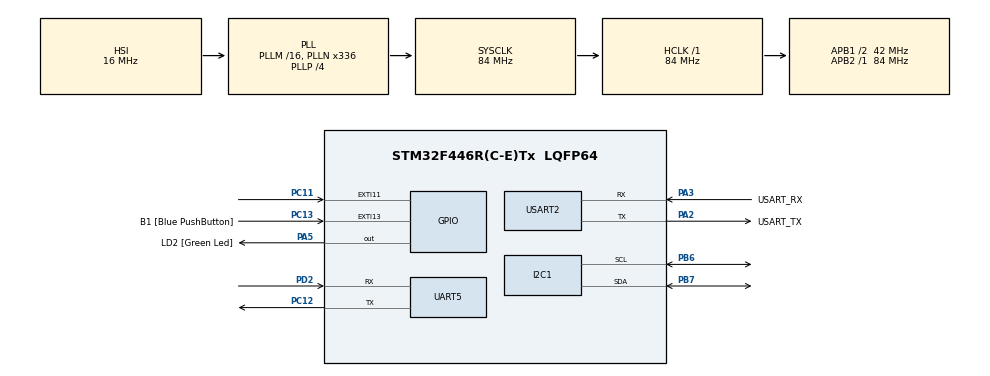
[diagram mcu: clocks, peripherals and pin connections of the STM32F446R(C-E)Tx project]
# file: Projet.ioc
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Dma.I2C1_RX.0.Direction=DMA_PERIPH_TO_MEMORY
Dma.I2C1_RX.0.FIFOMode=DMA_FIFOMODE_DISABLE
Dma.I2C1_RX.0.Instance=DMA1_Stream5
Dma.I2C1_RX.0.MemDataAlignment=DMA_MDATAALIGN_BYTE
Dma.I2C1_RX.0.MemInc=DMA_MINC_ENABLE
Dma.I2C1_RX.0.Mode=DMA_NORMAL
Dma.I2C1_RX.0.PeriphDataAlignment=DMA_PDATAALIGN_BYTE
Dma.I2C1_RX.0.PeriphInc=DMA_PINC_DISABLE
Dma.I2C1_RX.0.Priority=DMA_PRIORITY_LOW
Dma.I2C1_TX.1.Direction=DMA_MEMORY_TO_PERIPH
Dma.I2C1_TX.1.FIFOMode=DMA_FIFOMODE_DISABLE
Dma.I2C1_TX.1.Instance=DMA1_Stream6
Dma.I2C1_TX.1.MemDataAlignment=DMA_MDATAALIGN_BYTE
Dma.I2C1_TX.1.MemInc=DMA_MINC_ENABLE
Dma.I2C1_TX.1.Mode=DMA_NORMAL
Dma.I2C1_TX.1.PeriphDataAlignment=DMA_PDATAALIGN_BYTE
Dma.I2C1_TX.1.PeriphInc=DMA_PINC_DISABLE
Dma.I2C1_TX.1.Priority=DMA_PRIORITY_LOW
Dma.Request0=I2C1_RX
Dma.Request1=I2C1_TX
Dma.Request2=UART5_TX
Dma.UART5_TX.2.Direction=DMA_MEMORY_TO_PERIPH
Dma.UART5_TX.2.FIFOMode=DMA_FIFOMODE_DISABLE
Dma.UART5_TX.2.Instance=DMA1_Stream7
Dma.UART5_TX.2.MemDataAlignment=DMA_MDATAALIGN_BYTE
Dma.UART5_TX.2.MemInc=DMA_MINC_ENABLE
Dma.UART5_TX.2.Mode=DMA_NORMAL
Dma.UART5_TX.2.PeriphDataAlignment=DMA_PDATAALIGN_BYTE
Dma.UART5_TX.2.PeriphInc=DMA_PINC_DISABLE
Dma.UART5_TX.2.Priority=DMA_PRIORITY_LOW
I2C1.I2C_Mode=I2C_Fast
Mcu.Family=STM32F4
Mcu.Name=STM32F446R(C-E)Tx
Mcu.Package=LQFP64
NVIC.DMA1_Stream5_IRQn=true\:0\:0\:false\:false\:true\:false\:true\:true
NVIC.DMA1_Stream6_IRQn=true\:0\:0\:false\:false\:true\:false\:true\:true
NVIC.DMA1_Stream7_IRQn=true\:0\:0\:false\:false\:true\:false\:true\:true
NVIC.EXTI15_10_IRQn=true\:0\:0\:false\:false\:true\:true\:true\:true
NVIC.I2C1_ER_IRQn=true\:0\:0\:false\:false\:true\:true\:true\:true
NVIC.I2C1_EV_IRQn=true\:0\:0\:false\:false\:true\:true\:true\:true
NVIC.PriorityGroup=NVIC_PRIORITYGROUP_0
NVIC.UART5_IRQn=true\:0\:0\:false\:false\:true\:true\:true\:true
PA13.GPIO_Label=TMS
PA13.Mode=Serial_Wire
PA13.Signal=SYS_JTMS-SWDIO
PA14.GPIO_Label=TCK
PA14.Mode=Serial_Wire
PA14.Signal=SYS_JTCK-SWCLK
PA2.GPIO_Label=USART_TX
PA2.Mode=Asynchronous
PA2.Signal=USART2_TX
PA3.GPIO_Label=USART_RX
PA3.Mode=Asynchronous
PA3.Signal=USART2_RX
PA5.GPIO_Label=LD2 [Green Led]
PA5.Signal=GPIO_Output
PB3.GPIO_Label=SWO
PB3.Signal=SYS_JTDO-SWO
PB6.Mode=I2C
PB6.Signal=I2C1_SCL
PB7.Mode=I2C
PB7.Signal=I2C1_SDA
PC11.GPIO_ModeDefaultEXTI=GPIO_MODE_IT_FALLING
PC11.GPIO_PuPd=GPIO_PULLUP
PC11.Signal=GPXTI11
PC12.Mode=Asynchronous
PC12.Signal=UART5_TX
PC13.GPIO_Label=B1 [Blue PushButton]
PC13.GPIO_ModeDefaultEXTI=GPIO_MODE_IT_FALLING
PC13.Signal=GPXTI13
PC14-OSC32_IN.Mode=LSE-External-Oscillator
PC14-OSC32_IN.Signal=RCC_OSC32_IN
PC15-OSC32_OUT.Mode=LSE-External-Oscillator
PC15-OSC32_OUT.Signal=RCC_OSC32_OUT
PD2.Mode=Asynchronous
PD2.Signal=UART5_RX
PH0-OSC_IN.Mode=HSE-External-Oscillator
PH0-OSC_IN.Signal=RCC_OSC_IN
PH1-OSC_OUT.Mode=HSE-External-Oscillator
PH1-OSC_OUT.Signal=RCC_OSC_OUT
ProjectManager.HeapSize=0x200
ProjectManager.StackSize=0x400
ProjectManager.TargetToolchain=MDK-ARM V5.32
RCC.48MHZClocksFreq_Value=84000000
RCC.AHBFreq_Value=84000000
RCC.APB1CLKDivider=RCC_HCLK_DIV2
RCC.APB1Freq_Value=42000000
RCC.APB1TimFreq_Value=84000000
RCC.APB2Freq_Value=84000000
RCC.APB2TimFreq_Value=84000000
RCC.CortexFreq_Value=84000000
RCC.FLatency-AdvancedSettings=FLASH_LATENCY_2
RCC.HCLKFreq_Value=84000000
RCC.HSE_VALUE=8000000
RCC.HSI_VALUE=16000000
RCC.PLLN=336
RCC.PLLP=RCC_PLLP_DIV4
RCC.SYSCLKFreq_VALUE=84000000
RCC.SYSCLKSource=RCC_SYSCLKSOURCE_PLLCLK
RCC.USBFreq_Value=168000000
RCC.VCOOutputFreq_Value=336000000
UART5.VirtualMode=Asynchronous
USART2.VirtualMode=VM_ASYNC
board=NUCLEO-F446RE

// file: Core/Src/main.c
/* USER CODE BEGIN Header */
/**
  ******************************************************************************
  * @file           : main.c
  * @brief          : Main program body
  ******************************************************************************
  * @attention
  *
  * Copyright (c) 2024 STMicroelectronics.
  * All rights reserved.
  *
  * This software is licensed under terms that can be found in the LICENSE file
  * in the root directory of this software component.
  * If no LICENSE file comes with this software, it is provided AS-IS.
  *
  ******************************************************************************
  */
/* USER CODE END Header */
#include "main.h"
#include "dma.h"
#include "i2c.h"
#include "usart.h"
#include "gpio.h"

/* USER CODE BEGIN Includes */
#include "stdio.h"
#include "string.h"
/* USER CODE END Includes */

/* USER CODE BEGIN PTD */
typedef enum {
    STATE_IDLE,
    STATE_NEW_TRANSMISSION,
    STATE_RECEIVE
} UART_State;
/* USER CODE END PTD */

/* USER CODE BEGIN PD */
#define UART_BUFFER_SIZE 256
#define START_BYTE 0xFF
/* USER CODE END PD */

/* USER CODE BEGIN PV */
UART_State uart_state = STATE_IDLE;
uint8_t dma_tx_buffer[UART_BUFFER_SIZE];     // DMA transmision buffer
uint8_t uart_buffer[UART_BUFFER_SIZE];       // RX message buffer
uint8_t received_byte = 0;                   // Temporary storage for received byte
uint16_t buffer_index = 0;                   // Tracks current position in RX buffer
/* USER CODE END PV */

void SystemClock_Config(void);
/* USER CODE BEGIN PFP */
void Handle_Received_Message(uint8_t *buffer, uint16_t size);
void Send_Message(const uint8_t *message, uint16_t size);
/* USER CODE END PFP */

/* USER CODE BEGIN 0 */

int fputc(int ch, FILE *f) {
    HAL_UART_Transmit(&huart2, (uint8_t *)&ch, 1, HAL_MAX_DELAY);
    return ch;
}

void Handle_Received_Message(uint8_t *buffer, uint16_t size) {
    // Echo back received message via UART5
    //HAL_UART_Transmit(&huart5, buffer, size, HAL_MAX_DELAY);
    printf("Received Message: ");
    for (uint16_t i = 0; i < size; i++) {
        printf("%c", buffer[i]);
    }
    printf("\n");
}

void UART_Receive_Handler(uint8_t byte) {
    switch (uart_state) {
        case STATE_IDLE:
            if (byte == START_BYTE) {
                uart_state = STATE_NEW_TRANSMISSION;
                buffer_index = 0;
            }
            break;

        case STATE_NEW_TRANSMISSION:
            if (buffer_index < UART_BUFFER_SIZE) {
                uart_buffer[buffer_index++] = byte;
                uart_state = STATE_RECEIVE;
            } else {
                uart_state = STATE_IDLE; // Buffer overflow
            }
            break;

        case STATE_RECEIVE:
            if (buffer_index < UART_BUFFER_SIZE) {
                uart_buffer[buffer_index++] = byte;
            } else {
                uart_state = STATE_IDLE; // Buffer overflow
            }
            if (byte == '\n') {
                Handle_Received_Message(uart_buffer, buffer_index);
                uart_state = STATE_IDLE;
            }
            break;

        default:
            uart_state = STATE_IDLE;
            break;
    }
}

void HAL_UART_RxCpltCallback(UART_HandleTypeDef *huart) {
    if (huart->Instance == UART5) {
				//printf("RX interrupt triggered. Received: %c\n", received_byte);
        UART_Receive_Handler(received_byte);
        HAL_UART_Receive_IT(&huart5, &received_byte, 1); // Restart interrupt
    }
}

void HAL_UART_TxCpltCallback(UART_HandleTypeDef *huart) {
    if (huart->Instance == UART5) {
        //printf("DMA TX Complete\n");
    }
}

void Send_Message(const uint8_t *message, uint16_t size) {
    if (size + 3 > UART_BUFFER_SIZE) {
        printf("Error: Message too large\n");
        return;
    }

    uint8_t full_message[UART_BUFFER_SIZE];
    full_message[0] = START_BYTE;
    memcpy(&full_message[1], message, size);
    full_message[1 + size] = '\n';
		HAL_UART_Transmit_DMA(&huart5, full_message, size + 3);

    /*if (HAL_UART_Transmit_DMA(&huart5, full_message, size + 2) != HAL_OK) {
        printf("Error: DMA transmission failed.\n");
    }*/
}

/* USER CODE END 0 */

int main(void)
{

  /* MCU Configuration--------------------------------------------------------*/

  /* Reset of all peripherals, Initializes the Flash interface and the Systick. */
  HAL_Init();

  /* Configure the system clock */
  SystemClock_Config();

  /* Initialize all configured peripherals */
  MX_GPIO_Init();
  MX_DMA_Init();
  MX_I2C1_Init();
  MX_USART2_UART_Init();
  MX_UART5_Init();
  /* USER CODE BEGIN 2 */
    printf("Starting UART COMMUNICATION Example\n");
    HAL_UART_Receive_IT(&huart5, &received_byte, 1); // Start RX interrupt
  /* USER CODE END 2 */

  /* Infinite loop */
  /* USER CODE BEGIN WHILE */
    while (1) {
        //const uint8_t test_message[] = "1\r\n";
				//const uint8_t test_message[] = "je suis la carte de la prof voici mon message\r\n";
				const uint8_t test_message[] = "je suis la carte deux, je ne dois pas voir mon propre message\r\n";
        Send_Message(test_message, strlen((char *)test_message));
        HAL_Delay(2000); // Wait 1 second
				//printf("Message sent in main loop\n"); // Debugging log
    }
    /* USER CODE END WHILE */

}

void SystemClock_Config(void)
{
  RCC_OscInitTypeDef RCC_OscInitStruct = {0};
  RCC_ClkInitTypeDef RCC_ClkInitStruct = {0};

  /** Configure the main internal regulator output voltage
  */
  __HAL_RCC_PWR_CLK_ENABLE();
  __HAL_PWR_VOLTAGESCALING_CONFIG(PWR_REGULATOR_VOLTAGE_SCALE3);

  /** Initializes the RCC Oscillators according to the specified parameters
  * in the RCC_OscInitTypeDef structure.
  */
  RCC_OscInitStruct.OscillatorType = RCC_OSCILLATORTYPE_HSI;
  RCC_OscInitStruct.HSIState = RCC_HSI_ON;
  RCC_OscInitStruct.HSICalibrationValue = RCC_HSICALIBRATION_DEFAULT;
  RCC_OscInitStruct.PLL.PLLState = RCC_PLL_ON;
  RCC_OscInitStruct.PLL.PLLSource = RCC_PLLSOURCE_HSI;
  RCC_OscInitStruct.PLL.PLLM = 16;
  RCC_OscInitStruct.PLL.PLLN = 336;
  RCC_OscInitStruct.PLL.PLLP = RCC_PLLP_DIV4;
  RCC_OscInitStruct.PLL.PLLQ = 2;
  RCC_OscInitStruct.PLL.PLLR = 2;
  if (HAL_RCC_OscConfig(&RCC_OscInitStruct) != HAL_OK)
  {
    Error_Handler();
  }

  /** Initializes the CPU, AHB and APB buses clocks
  */
  RCC_ClkInitStruct.ClockType = RCC_CLOCKTYPE_HCLK|RCC_CLOCKTYPE_SYSCLK
                              |RCC_CLOCKTYPE_PCLK1|RCC_CLOCKTYPE_PCLK2;
  RCC_ClkInitStruct.SYSCLKSource = RCC_SYSCLKSOURCE_PLLCLK;
  RCC_ClkInitStruct.AHBCLKDivider = RCC_SYSCLK_DIV1;
  RCC_ClkInitStruct.APB1CLKDivider = RCC_HCLK_DIV2;
  RCC_ClkInitStruct.APB2CLKDivider = RCC_HCLK_DIV1;

  if (HAL_RCC_ClockConfig(&RCC_ClkInitStruct, FLASH_LATENCY_2) != HAL_OK)
  {
    Error_Handler();
  }
}

/* USER CODE BEGIN 4 */

/* USER CODE BEGIN 4 */

/* USER CODE END 4 */

void Error_Handler(void)
{
  __disable_irq();
  while (1)
  {
  }
}
